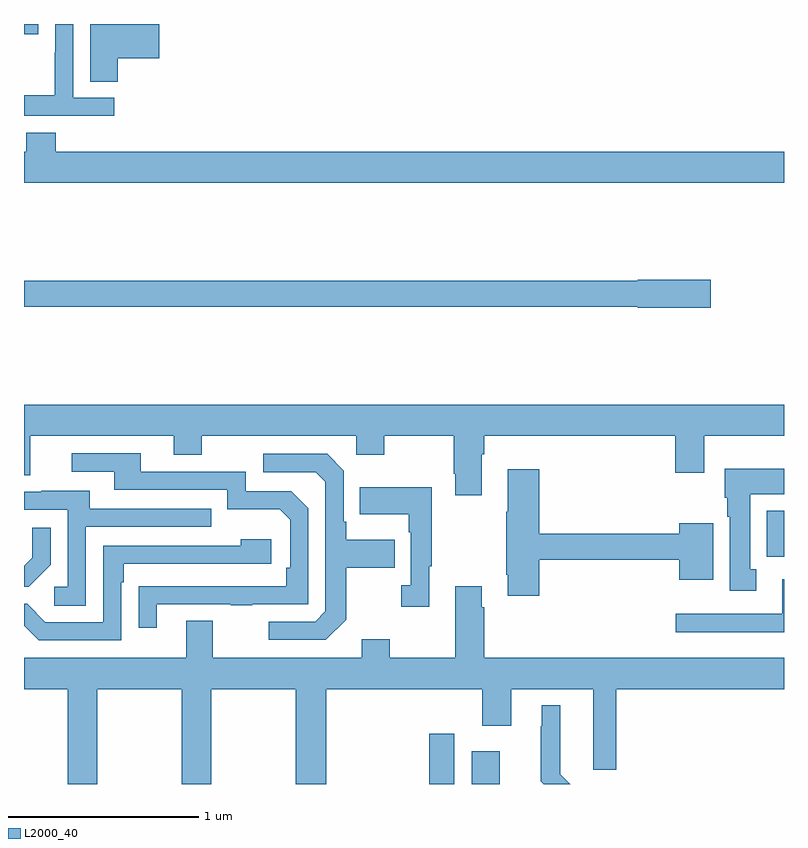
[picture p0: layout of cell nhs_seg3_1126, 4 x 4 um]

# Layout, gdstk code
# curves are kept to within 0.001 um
import gdstk
lib = gdstk.Library(unit=1e-6, precision=1e-09)
def R(c, l, rs):  # rectangles x0, y0, x1, y1
    for r in rs: c.add(gdstk.rectangle(r[:2], r[2:], *l))
def P(c, l, *ps):  # polygons
    for p in ps: c.add(gdstk.Polygon(p, *l))
L2000_40 = (2000, 40)

nhs_seg3_1126 = lib.new_cell('nhs_seg3_1126')
R(nhs_seg3_1126, L2000_40, [(171.134,716.4,171.265,716.665), (171.356,716.4,171.505,716.572), (172.91,717.596,173,717.838), (169,720.345,169.075,720.4)])
P(nhs_seg3_1126, L2000_40, [(169.493,720.221),(169.711,720.221),(169.711,720.4),(169.349,720.4),(169.349,720.097),(169.493,720.097)],
  [(169.474,720.012),(169.26,720.012),(169.26,720.4),(169.164,720.4),(169.164,720.248),(169.162,720.248),(169.162,720.025),(169,720.025),(169,719.916),(169.474,719.916)],
  [(173,719.728),(169.166,719.728),(169.166,719.827),(169.013,719.827),(169.013,719.728),(169,719.728),(169,719.564),(173,719.564)],
  [(172.615,719.054),(172.23,719.054),(172.23,719.048),(169,719.048),(169,718.912),(172.23,718.912),(172.23,718.907),(172.615,718.907)],
  [(171.409,718.136),(171.422,718.136),(171.422,718.232),(172.427,718.232),(172.427,718.038),(172.579,718.038),(172.579,718.232),(173,718.232),(173,718.396),(169,718.396),(169,718.024),(169.033,718.024),(169.033,718.232),(169.787,718.232),(169.787,718.133),(169.935,718.133),(169.935,718.232),(170.748,718.232),(170.748,718.133),(170.895,718.133),(170.895,718.232),(171.262,718.232),(171.262,718.033),(171.269,718.033),(171.269,717.921),(171.409,717.921)],
  [(169.699,717.345),(170.089,717.345),(170.089,717.34),(170.201,717.34),(170.201,717.345),(170.496,717.345),(170.496,717.852),(170.406,717.942),(170.166,717.942),(170.166,718.044),(169.615,718.044),(169.615,718.14),(169.251,718.14),(169.251,718.044),(169.475,718.044),(169.475,717.948),(170.07,717.948),(170.07,717.845),(170.347,717.845),(170.4,717.792),(170.4,717.538),(170.38,717.538),(170.38,717.441),(169.603,717.44),(169.603,717.222),(169.699,717.222)],
  [(170.695,717.265),(170.695,717.538),(170.951,717.538),(170.951,717.685),(170.695,717.685),(170.695,717.781),(170.682,717.781),(170.682,718.05),(170.595,718.137),(170.259,718.137),(170.259,718.041),(170.535,718.041),(170.586,717.99),(170.586,717.309),(170.532,717.255),(170.289,717.255),(170.289,717.159),(170.589,717.159)],
  [(172.855,717.53),(172.822,717.53),(172.822,717.926),(173,717.926),(173,718.06),(172.688,718.06),(172.688,717.906),(172.7,717.906),(172.7,717.806),(172.715,717.806),(172.715,717.417),(172.855,717.417)],
  [(171.713,717.58),(172.448,717.58),(172.448,717.476),(172.627,717.476),(172.627,717.772),(172.448,717.772),(172.448,717.716),(171.713,717.716),(171.713,718.057),(171.545,718.057),(171.545,717.833),(171.538,717.833),(171.538,717.502),(171.545,717.502),(171.545,717.39),(171.713,717.39)],
  [(171.133,717.545),(171.145,717.545),(171.145,717.961),(170.767,717.961),(170.767,717.821),(171.024,717.821),(171.024,717.725),(171.036,717.725),(171.036,717.446),(170.985,717.446),(170.985,717.333),(171.133,717.333)],
  [(169.326,717.753),(169.985,717.753),(169.985,717.849),(169.345,717.849),(169.345,717.943),(169.091,717.943),(169.091,717.939),(169,717.939),(169,717.843),(169.23,717.843),(169.23,717.438),(169.158,717.438),(169.158,717.337),(169.326,717.337)],
  [(169.14,717.554),(169.14,717.748),(169.043,717.748),(169.043,717.591),(169,717.548),(169,717.438),(169.024,717.438)],
  [(169.512,717.461),(169.525,717.461),(169.525,717.558),(170.302,717.558),(170.302,717.688),(170.141,717.688),(170.141,717.654),(169.416,717.654),(169.416,717.252),(169.113,717.252),(169.017,717.348),(169,717.348),(169,717.233),(169.077,717.156),(169.512,717.156)],
  [(173,717.478),(172.991,717.478),(172.991,717.297),(172.431,717.297),(172.431,717.2),(173,717.2)],
  [(169.386,716.9),(169.831,716.9),(169.831,716.4),(169.986,716.4),(169.986,716.9),(170.431,716.9),(170.431,716.4),(170.591,716.4),(170.591,716.9),(171.413,716.9),(171.413,716.706),(171.565,716.706),(171.565,716.9),(171.995,716.9),(171.995,716.475),(172.118,716.475),(172.118,716.9),(173,716.9),(173,717.064),(171.422,717.064),(171.422,717.329),(171.409,717.329),(171.409,717.442),(171.269,717.442),(171.269,717.064),(170.925,717.064),(170.925,717.163),(170.777,717.163),(170.777,717.064),(169.993,717.064),(169.993,717.259),(169.853,717.259),(169.853,717.064),(169,717.064),(169,716.9),(169.231,716.9),(169.231,716.4),(169.386,716.4)],
  [(171.823,716.452),(171.823,716.815),(171.725,716.815),(171.725,716.705),(171.721,716.705),(171.721,716.414),(171.735,716.4),(171.874,716.4)])

lib.write_gds('nhs_seg3_1126.gds')
